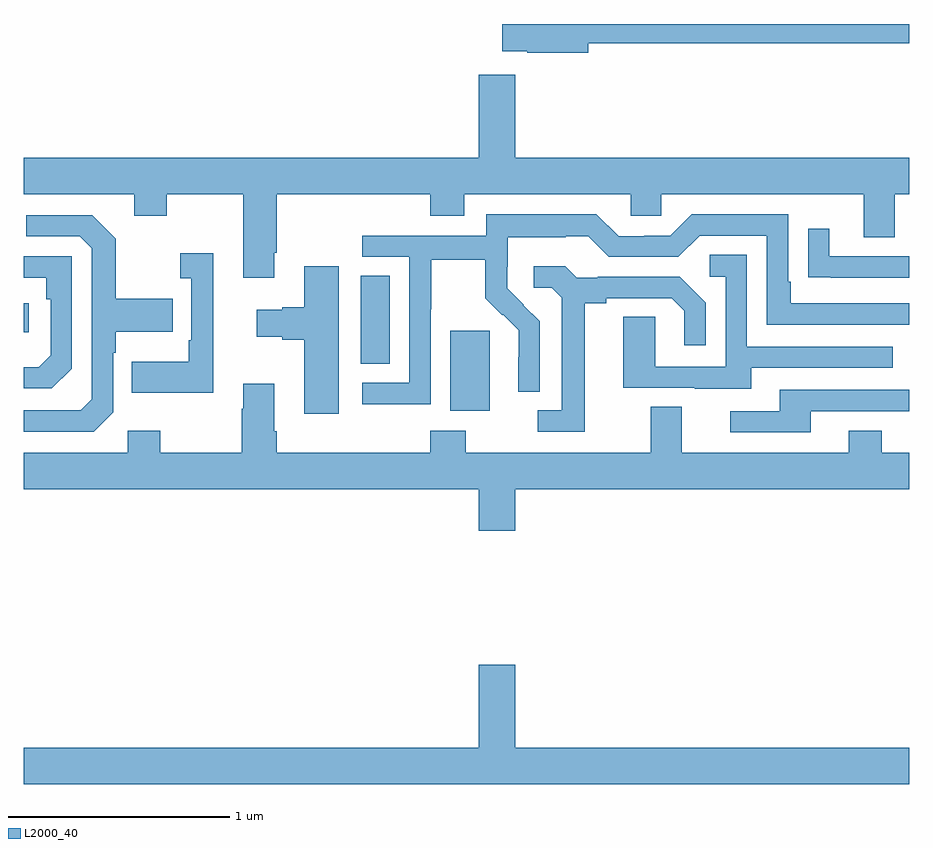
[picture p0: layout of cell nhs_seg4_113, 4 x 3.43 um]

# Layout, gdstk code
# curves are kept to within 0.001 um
import gdstk
lib = gdstk.Library(unit=1e-6, precision=1e-09)
def R(c, l, rs):  # rectangles x0, y0, x1, y1
    for r in rs: c.add(gdstk.rectangle(r[:2], r[2:], *l))
def P(c, l, *ps):  # polygons
    for p in ps: c.add(gdstk.Polygon(p, *l))
L2000_40 = (2000, 40)

nhs_seg4_113 = lib.new_cell('nhs_seg4_113')
R(nhs_seg4_113, L2000_40, [(116.927,817.154,117.106,817.515), (116.522,817.366,116.653,817.763), (115,817.508,115.024,817.638)])
P(nhs_seg4_113, L2000_40, [(117.55,818.812),(119,818.812),(119,818.9),(117.162,818.9),(117.162,818.777),(117.274,818.777),(117.274,818.77),(117.55,818.77)],
  [(116.131,817.867),(116.144,817.867),(116.144,818.132),(116.837,818.132),(116.837,818.033),(116.989,818.033),(116.989,818.132),(117.741,818.132),(117.741,818.034),(117.879,818.034),(117.879,818.132),(118.793,818.132),(118.793,817.938),(118.933,817.938),(118.933,818.132),(119,818.132),(119,818.296),(117.22,818.296),(117.22,818.671),(117.056,818.671),(117.056,818.296),(115,818.296),(115,818.132),(115.499,818.132),(115.499,818.033),(115.647,818.033),(115.647,818.132),(115.991,818.132),(115.991,817.755),(116.131,817.755)],
  [(116.838,817.612),(116.841,817.612),(116.841,817.836),(117.085,817.836),(117.085,817.661),(117.162,817.584),(117.165,817.587),(117.236,817.517),(117.236,817.394),(117.234,817.394),(117.234,817.24),(117.33,817.24),(117.33,817.558),(117.184,817.706),(117.184,817.803),(117.186,817.803),(117.186,817.937),(117.449,817.937),(117.449,817.941),(117.549,817.941),(117.642,817.848),(117.957,817.848),(118.053,817.944),(118.356,817.944),(118.356,817.542),(119,817.542),(119,817.638),(118.465,817.638),(118.465,817.735),(118.452,817.735),(118.452,818.04),(118.017,818.04),(117.921,817.944),(117.803,817.944),(117.803,817.941),(117.687,817.941),(117.587,818.041),(117.09,818.041),(117.09,817.944),(116.529,817.944),(116.529,817.848),(116.742,817.848),(116.742,817.281),(116.529,817.281),(116.529,817.183),(116.838,817.183)],
  [(115.404,817.146),(115.404,817.415),(115.417,817.415),(115.417,817.511),(115.673,817.511),(115.673,817.659),(115.417,817.659),(115.417,817.931),(115.311,818.037),(115.011,818.037),(115.011,817.941),(115.254,817.941),(115.308,817.887),(115.308,817.206),(115.257,817.155),(115,817.155),(115,817.059),(115.317,817.059)],
  [(119,817.851),(118.639,817.851),(118.639,817.975),(118.543,817.975),(118.543,817.756),(118.645,817.756),(118.645,817.755),(119,817.755)],
  [(115.856,817.864),(115.707,817.864),(115.707,817.751),(115.758,817.751),(115.758,817.471),(115.746,817.471),(115.746,817.375),(115.489,817.375),(115.489,817.235),(115.856,817.235)],
  [(118.285,817.347),(118.925,817.347),(118.925,817.443),(118.266,817.443),(118.266,817.859),(118.098,817.859),(118.098,817.758),(118.17,817.758),(118.17,817.353),(117.852,817.353),(117.852,817.577),(117.707,817.577),(117.707,817.257),(118.031,817.257),(118.031,817.253),(118.285,817.253)],
  [(115.218,817.344),(115.218,817.851),(115,817.851),(115,817.755),(115.102,817.755),(115.102,817.658),(115.122,817.658),(115.122,817.404),(115.069,817.351),(115,817.351),(115,817.254),(115.128,817.254)],
  [(117.535,817.64),(117.631,817.64),(117.631,817.662),(117.926,817.662),(117.983,817.605),(117.983,817.449),(118.08,817.449),(118.08,817.642),(117.964,817.758),(117.592,817.758),(117.592,817.755),(117.498,817.755),(117.446,817.807),(117.303,817.807),(117.303,817.71),(117.384,817.71),(117.431,817.663),(117.431,817.155),(117.321,817.155),(117.321,817.059),(117.535,817.059)],
  [(116.422,817.807),(116.267,817.807),(116.267,817.622),(116.168,817.622),(116.168,817.609),(116.052,817.609),(116.052,817.487),(116.168,817.487),(116.168,817.475),(116.267,817.475),(116.267,817.14),(116.422,817.14)],
  [(117.22,816.8),(119,816.8),(119,816.964),(118.875,816.964),(118.875,817.063),(118.727,817.063),(118.727,816.964),(117.973,816.964),(117.973,817.172),(117.833,817.172),(117.833,816.964),(116.997,816.964),(116.997,817.063),(116.837,817.063),(116.837,816.964),(116.144,816.964),(116.144,817.06),(116.131,817.06),(116.131,817.276),(115.991,817.276),(115.991,817.163),(115.984,817.163),(115.984,816.964),(115.617,816.964),(115.617,817.063),(115.47,817.063),(115.47,816.964),(115,816.964),(115,816.8),(117.056,816.8),(117.056,816.612),(117.22,816.612)],
  [(118.555,817.152),(119,817.152),(119,817.248),(118.415,817.248),(118.415,817.152),(118.191,817.152),(118.191,817.056),(118.555,817.056)],
  [(119,815.632),(117.22,815.632),(117.22,816.007),(117.056,816.007),(117.056,815.632),(115,815.632),(115,815.468),(119,815.468)])

lib.write_gds('nhs_seg4_113.gds')
